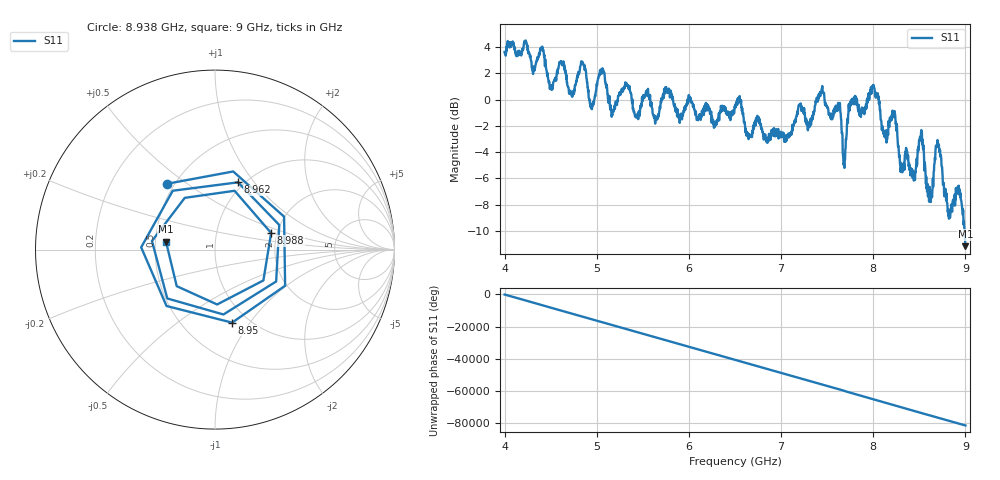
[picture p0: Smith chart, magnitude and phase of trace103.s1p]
! Created with skrf 1.8.0 (http://scikit-rf.org).
# Hz S RI R 50.0
!freq ReS11 ImS11
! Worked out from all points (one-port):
!   1601 points, 4 GHz to 9 GHz, reference 50 ohm
!   lowest |S11| = -11.2 dB at 9 GHz (marker M1), VSWR 1.77, Z = 28.4 + j2.76 ohm
!   |S11| at or under -10 dB: 8.991747 GHz to end of sweep
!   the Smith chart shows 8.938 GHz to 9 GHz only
!   S11 on the Smith chart (normalised r, x): 8.938 GHz: 0.45, +0.42; 8.95 GHz: 0.84, -0.83; 8.962 GHz: 0.94, +0.83; 8.988 GHz: 1.86, +0.38; 9 GHz: 0.57, +0.06
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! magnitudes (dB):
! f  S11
! 4 GHz  3.6
! 4.406 GHz  3.8
! 4.503 GHz  1.0
! 4.625 GHz  2.8
! 4.722 GHz  0.5
! 4.856 GHz  2.7
! 4.944 GHz  -0.4
! 5.05 GHz  2.2
! 5.166 GHz  -1.1
! 5.25 GHz  0.5
! 5.875 GHz  -0.7
! 6.5 GHz  -0.6
! 7.125 GHz  -2.3
! 7.441 GHz  0.8
! 7.625 GHz  -0.3
! 7.688 GHz  -5.2
! 7.75 GHz  -0.4
! 8 GHz  1.1
! 8.375 GHz  -4.5
! 8.522 GHz  -2.3
! 8.619 GHz  -7.1
! 8.7 GHz  -3.5
! 8.816 GHz  -8.8
! 8.938 GHz  -6.8
! 8.95 GHz  -7.6
! 8.962 GHz  -8.0
! 8.988 GHz  -9.7
! 9 GHz  -11.2
